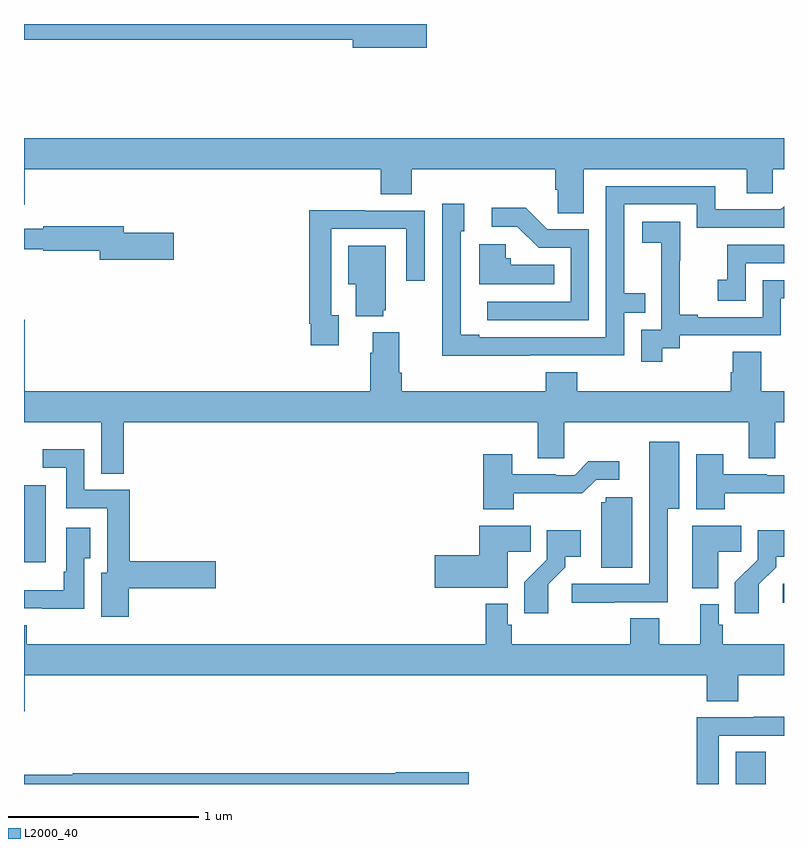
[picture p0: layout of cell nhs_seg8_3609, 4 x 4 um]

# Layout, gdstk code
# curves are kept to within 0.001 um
import gdstk
lib = gdstk.Library(unit=1e-6, precision=1e-09)
def R(c, l, rs):  # rectangles x0, y0, x1, y1
    for r in rs: c.add(gdstk.rectangle(r[:2], r[2:], *l))
def P(c, l, *ps):  # polygons
    for p in ps: c.add(gdstk.Polygon(p, *l))
L2000_40 = (2000, 40)

nhs_seg8_3609 = lib.new_cell('nhs_seg8_3609')
R(nhs_seg8_3609, L2000_40, [(336.746,1143.9,336.904,1144.069), (336.993,1144.855,337,1144.953), (333,1145.067,333.115,1145.473)])
P(nhs_seg8_3609, L2000_40, [(335.119,1147.9),(333,1147.9),(333,1147.816),(334.73,1147.816),(334.73,1147.774),(335.119,1147.774)],
  [(335.947,1147.136),(336.803,1147.136),(336.803,1147.009),(336.942,1147.009),(336.942,1147.136),(337,1147.136),(337,1147.3),(333,1147.3),(333,1146.948),(333.004,1146.948),(333.004,1147.136),(334.877,1147.136),(334.877,1147.003),(335.042,1147.003),(335.042,1147.136),(335.795,1147.136),(335.795,1147.027),(335.808,1147.027),(335.808,1146.904),(335.947,1146.904)],
  [(335.663,1146.156),(336.159,1146.156),(336.159,1146.381),(336.269,1146.381),(336.269,1146.482),(336.159,1146.482),(336.159,1146.951),(336.54,1146.951),(336.54,1146.828),(337,1146.828),(337,1146.94),(336.984,1146.924),(336.637,1146.924),(336.637,1147.047),(336.063,1147.047),(336.063,1146.252),(335.395,1146.252),(335.395,1146.265),(335.298,1146.265),(335.298,1146.81),(335.317,1146.81),(335.317,1146.955),(335.202,1146.955),(335.202,1146.461),(335.2,1146.461),(335.2,1146.155)],
  [(335.973,1146.819),(335.754,1146.819),(335.641,1146.932),(335.463,1146.932),(335.463,1146.834),(335.597,1146.834),(335.708,1146.723),(335.877,1146.723),(335.877,1146.438),(335.439,1146.438),(335.439,1146.342),(335.973,1146.342)],
  [(334.657,1146.366),(334.617,1146.366),(334.617,1146.822),(335.013,1146.822),(335.013,1146.549),(335.109,1146.549),(335.109,1146.918),(334.793,1146.918),(334.793,1146.92),(334.501,1146.92),(334.501,1146.322),(334.509,1146.322),(334.509,1146.21),(334.657,1146.21)],
  [(336.358,1146.193),(336.45,1146.193),(336.45,1146.261),(336.984,1146.261),(336.984,1146.456),(337,1146.456),(337,1146.552),(336.888,1146.552),(336.888,1146.357),(336.547,1146.357),(336.547,1146.37),(336.452,1146.37),(336.452,1146.653),(336.453,1146.653),(336.453,1146.859),(336.255,1146.859),(336.255,1146.749),(336.353,1146.749),(336.353,1146.521),(336.354,1146.521),(336.354,1146.291),(336.249,1146.291),(336.249,1146.123),(336.358,1146.123)],
  [(333.787,1146.801),(333.526,1146.801),(333.526,1146.835),(333.1,1146.835),(333.1,1146.822),(333,1146.822),(333,1146.714),(333.102,1146.714),(333.102,1146.706),(333.398,1146.706),(333.398,1146.659),(333.787,1146.659)],
  [(335.792,1146.634),(335.562,1146.634),(335.562,1146.666),(335.535,1146.666),(335.535,1146.742),(335.396,1146.742),(335.396,1146.53),(335.792,1146.53)],
  [(336.798,1146.642),(337,1146.642),(337,1146.738),(336.7,1146.738),(336.7,1146.553),(336.651,1146.553),(336.651,1146.444),(336.798,1146.444)],
  [(334.892,1146.393),(334.903,1146.393),(334.903,1146.733),(334.706,1146.733),(334.706,1146.53),(334.745,1146.53),(334.745,1146.362),(334.892,1146.362)],
  [(333.526,1145.804),(335.705,1145.804),(335.705,1145.614),(335.844,1145.614),(335.844,1145.804),(336.815,1145.804),(336.815,1145.614),(336.954,1145.614),(336.954,1145.804),(337,1145.804),(337,1145.968),(336.879,1145.968),(336.879,1146.176),(336.731,1146.176),(336.731,1146.066),(336.719,1146.066),(336.719,1145.968),(335.912,1145.968),(335.912,1146.067),(335.747,1146.067),(335.747,1145.968),(334.988,1145.968),(334.988,1146.064),(334.975,1146.064),(334.975,1146.277),(334.835,1146.277),(334.835,1146.17),(334.823,1146.17),(334.823,1145.968),(333.004,1145.968),(333.004,1146.343),(333,1146.343),(333,1145.804),(333.407,1145.804),(333.407,1145.533),(333.526,1145.533)],
  [(336.107,1144.857),(336.388,1144.857),(336.388,1145.348),(336.448,1145.348),(336.448,1145.701),(336.29,1145.701),(336.29,1145.452),(336.291,1145.452),(336.291,1144.953),(335.883,1144.953),(335.883,1144.855),(336.107,1144.855)],
  [(333.551,1144.93),(334.009,1144.93),(334.009,1145.072),(333.556,1145.072),(333.556,1145.448),(333.318,1145.448),(333.318,1145.662),(333.099,1145.662),(333.099,1145.565),(333.222,1145.565),(333.222,1145.352),(333.437,1145.352),(333.437,1145.011),(333.407,1145.011),(333.407,1144.779),(333.551,1144.779)],
  [(335.577,1145.43),(335.939,1145.429),(336.012,1145.502),(336.133,1145.502),(336.133,1145.599),(335.971,1145.599),(335.898,1145.526),(335.798,1145.526),(335.798,1145.529),(335.569,1145.529),(335.569,1145.635),(335.417,1145.635),(335.417,1145.345),(335.577,1145.345)],
  [(336.687,1145.43),(336.95,1145.43),(336.95,1145.429),(337,1145.429),(337,1145.526),(336.908,1145.526),(336.908,1145.529),(336.679,1145.529),(336.679,1145.635),(336.539,1145.635),(336.539,1145.345),(336.687,1145.345)],
  [(336.202,1145.409),(336.063,1145.409),(336.063,1145.382),(336.038,1145.382),(336.038,1145.038),(336.202,1145.038)],
  [(336.655,1145.122),(336.776,1145.122),(336.776,1145.26),(336.518,1145.26),(336.518,1144.931),(336.655,1144.931)],
  [(335.545,1145.122),(335.666,1145.122),(335.666,1145.26),(335.396,1145.26),(335.396,1145.105),(335.163,1145.105),(335.163,1144.934),(335.545,1144.934)],
  [(333.318,1145.089),(333.349,1145.089),(333.349,1145.248),(333.222,1145.248),(333.222,1145.017),(333.21,1145.017),(333.21,1144.921),(333,1144.921),(333,1144.824),(333.097,1144.824),(333.097,1144.823),(333.318,1144.823)],
  [(335.758,1144.951),(335.848,1145.041),(335.848,1145.096),(335.929,1145.096),(335.929,1145.236),(335.751,1145.236),(335.751,1145.081),(335.632,1144.962),(335.632,1144.8),(335.758,1144.8)],
  [(336.868,1144.951),(336.958,1145.041),(336.958,1145.096),(337,1145.096),(337,1145.236),(336.861,1145.236),(336.861,1145.081),(336.742,1144.962),(336.742,1144.8),(336.868,1144.8)],
  [(333.004,1144.472),(336.593,1144.472),(336.593,1144.336),(336.758,1144.336),(336.758,1144.472),(337,1144.472),(337,1144.636),(336.677,1144.636),(336.677,1144.737),(336.657,1144.737),(336.657,1144.846),(336.56,1144.846),(336.56,1144.636),(336.343,1144.636),(336.343,1144.772),(336.191,1144.772),(336.191,1144.636),(335.567,1144.636),(335.567,1144.737),(335.547,1144.737),(335.547,1144.849),(335.431,1144.849),(335.431,1144.636),(333.014,1144.636),(333.014,1144.735),(333,1144.735),(333,1144.284),(333.004,1144.284)],
  [(336.657,1144.155),(337,1144.155),(337,1144.254),(336.841,1144.254),(336.841,1144.251),(336.541,1144.251),(336.541,1143.9),(336.657,1143.9)],
  [(335.341,1143.962),(334.956,1143.962),(334.956,1143.956),(333.256,1143.956),(333.256,1143.949),(333,1143.949),(333,1143.9),(335.341,1143.9)])

lib.write_gds('nhs_seg8_3609.gds')
